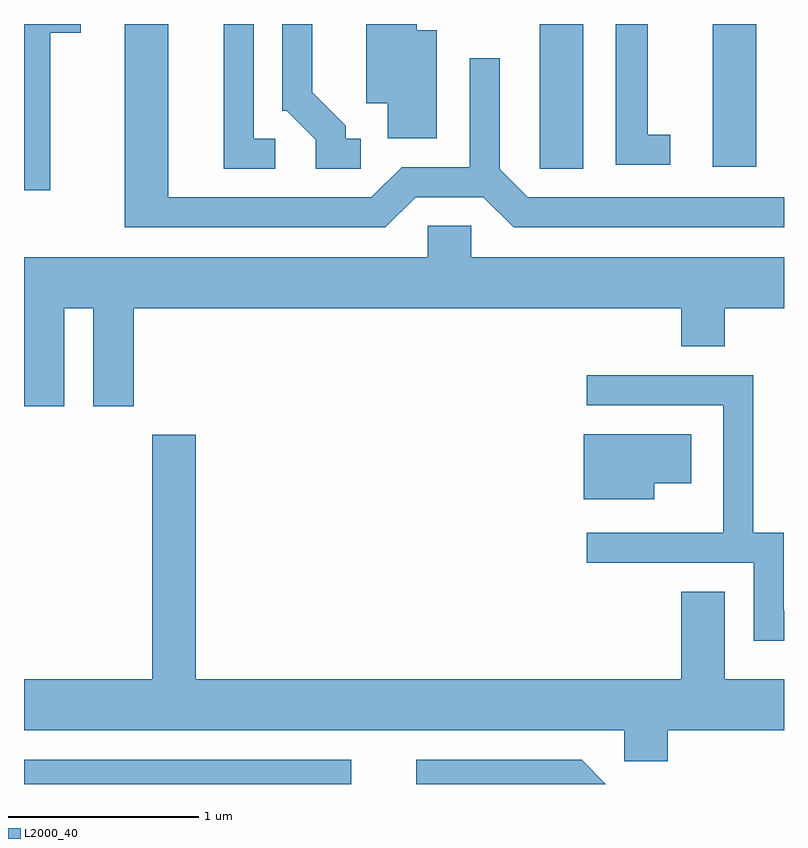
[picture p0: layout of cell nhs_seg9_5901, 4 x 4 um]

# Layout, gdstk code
import gdstk
lib = gdstk.Library(unit=1e-6, precision=1e-09)
def R(c, l, rs):  # rectangles x0, y0, x1, y1
    for r in rs: c.add(gdstk.rectangle(r[:2], r[2:], *l))
def P(c, l, *ps):  # polygons
    for p in ps: c.add(gdstk.Polygon(p, *l))
L2000_40 = (2000, 40)

nhs_seg9_5901 = lib.new_cell('nhs_seg9_5901')
R(nhs_seg9_5901, L2000_40, [(359.611,1980.432,361.334,1980.559), (362.326,1983.671,362.554,1984.432), (363.236,1983.681,363.464,1984.432)])
P(nhs_seg9_5901, L2000_40, [(360.933,1983.829),(360.819,1983.829),(360.819,1984.432),(360.661,1984.432),(360.661,1983.671),(360.933,1983.671)],
  [(359.749,1984.386),(359.909,1984.386),(359.909,1984.432),(359.611,1984.432),(359.611,1983.556),(359.749,1983.556)],
  [(363.013,1983.849),(362.894,1983.849),(362.894,1984.432),(362.726,1984.432),(362.726,1983.691),(363.013,1983.691)],
  [(361.383,1983.829),(361.304,1983.829),(361.304,1983.897),(361.129,1984.072),(361.129,1984.432),(360.971,1984.432),(360.971,1983.976),(360.994,1983.976),(361.146,1983.824),(361.146,1983.671),(361.383,1983.671)],
  [(361.784,1984.399),(361.679,1984.399),(361.679,1984.432),(361.411,1984.432),(361.411,1984.016),(361.526,1984.016),(361.526,1983.831),(361.784,1983.831)],
  [(361.672,1983.521),(362.029,1983.521),(362.189,1983.361),(363.611,1983.361),(363.611,1983.519),(362.262,1983.519),(362.114,1983.667),(362.114,1984.253),(361.956,1984.253),(361.956,1983.679),(361.599,1983.679),(361.439,1983.519),(360.369,1983.519),(360.369,1984.432),(360.141,1984.432),(360.141,1983.361),(361.512,1983.361)],
  [(359.824,1982.936),(359.976,1982.936),(359.976,1982.421),(360.189,1982.421),(360.189,1982.936),(363.071,1982.936),(363.071,1982.736),(363.299,1982.736),(363.299,1982.936),(363.611,1982.936),(363.611,1983.204),(361.964,1983.204),(361.964,1983.369),(361.736,1983.369),(361.736,1983.204),(359.611,1983.204),(359.611,1982.421),(359.824,1982.421)],
  [(363.611,1981.344),(363.609,1981.344),(363.609,1981.754),(363.449,1981.754),(363.449,1982.584),(362.573,1982.584),(362.573,1982.426),(363.291,1982.426),(363.291,1981.754),(362.573,1981.754),(362.573,1981.596),(363.451,1981.596),(363.451,1981.186),(363.611,1981.186)],
  [(362.929,1982.016),(363.124,1982.016),(363.124,1982.274),(362.556,1982.274),(362.556,1981.931),(362.929,1981.931)],
  [(362.999,1980.716),(363.611,1980.716),(363.611,1980.984),(363.299,1980.984),(363.299,1981.444),(363.071,1981.444),(363.071,1980.984),(360.514,1980.984),(360.514,1982.269),(360.286,1982.269),(360.286,1980.984),(359.611,1980.984),(359.611,1980.716),(362.771,1980.716),(362.771,1980.551),(362.999,1980.551)],
  [(362.547,1980.559),(361.676,1980.559),(361.676,1980.432),(362.674,1980.432)])

lib.write_gds('nhs_seg9_5901.gds')
